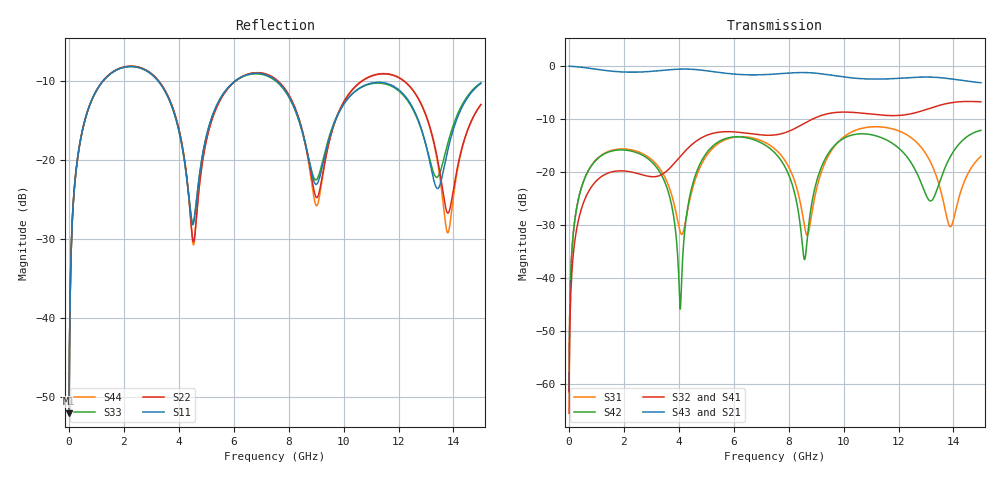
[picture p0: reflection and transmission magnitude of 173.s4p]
! Created with skrf 1.8.0 (http://scikit-rf.org).
# GHz S RI R 50.0
!freq ReS11 ImS11 ReS12 ImS12 ReS13 ImS13
! ReS14 ImS14
! ReS21 ImS21 ReS22 ImS22 ReS23 ImS23
! ReS24 ImS24
! ReS31 ImS31 ReS32 ImS32 ReS33 ImS33
! ReS34 ImS34
! ReS41 ImS41 ReS42 ImS42 ReS43 ImS43
! ReS44 ImS44
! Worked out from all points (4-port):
!   2499 points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, 5 MHz to 15 GHz, reference 50 ohm
!   strongest paths, dB at 5 MHz, 3.476 GHz, 7.19 GHz, 11.1 GHz, 15 GHz:
!     S43: 0.0, -0.8, -1.6, -2.5, -3.1
!     S21: 0.0, -0.8, -1.6, -2.5, -3.1
!     S32: -65.6, -20.2, -13.1, -9.1, -6.8
!     S41: -65.6, -20.2, -13.1, -9.2, -6.8
!     S42: -61.6, -21.8, -15.1, -13.1, -12.1
!     S31: -61.6, -20.8, -14.6, -11.5, -17.1
!   lowest |S11| = -52.1 dB at 5 MHz (marker M1), VSWR 1.00, Z = 50.2 + j0.15 ohm
!   |S11| at or under -10 dB: start of sweep to 1.248 GHz; 3.243 GHz to 6.061 GHz (2.818 GHz wide, 60.6 % of centre); 7.545 GHz to end of sweep
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0.005  0.00198 0.0015  0.998 -0.00385  0.000102 0.000829  -9.89e-05 -0.000513
       0.998 -0.00385  0.00198 0.0015  -9.89e-05 -0.000513  0.000102 0.000829
       0.000102 0.000829  -9.89e-05 -0.000513  0.00198 0.0015  0.998 -0.00385
       -9.89e-05 -0.000513  0.000102 0.000829  0.998 -0.00385  0.00198 0.0015
1.369321  0.2878 0.1677  0.505 -0.7522  0.1436 0.0542  -0.096 0.00142
          0.505 -0.7522  0.2898 0.1662  -0.0962 0.00159  0.138 0.0627
          0.1436 0.0542  -0.0962 0.00159  0.2877 0.1677  0.505 -0.7522
          -0.096 0.00142  0.138 0.0627  0.505 -0.7522  0.2898 0.1661
4.051688  0.0756 -0.1173  -0.8548 -0.3814  -0.0233 -0.0139  -0.0538 0.1292
          -0.8548 -0.3814  0.0691 -0.1255  -0.0517 0.1301  0.00491 0.00118
          -0.0233 -0.0139  -0.0517 0.1301  0.0766 -0.1165  -0.8548 -0.3815
          -0.0538 0.1292  0.00491 0.00118  -0.8548 -0.3815  0.0679 -0.1257
5.277199  0.1447 0.1397  -0.7896 0.3972  0.1191 0.1233  0.1377 0.1872
          -0.7896 0.3972  0.1354 0.1396  0.1406 0.1854  0.1321 0.1213
          0.1191 0.1233  0.1406 0.1854  0.1452 0.1385  -0.7899 0.3969
          0.1377 0.1872  0.1321 0.1213  -0.7899 0.3969  0.1345 0.1405
9.103793  0.0729 0.017  0.8427 0.115  0.0119 0.0835  0.0383 -0.3332
          0.8427 0.115  0.0598 0.014  0.0276 -0.3338  0.0109 0.0956
          0.0119 0.0835  0.0276 -0.3338  0.078 0.0191  0.8426 0.1156
          0.0383 -0.3332  0.0109 0.0956  0.8426 0.1156  0.0537 0.0171
12.01751  0.2609 -0.0916  -0.1195 -0.7564  0.1302 -0.2059  -0.3195 0.1135
          -0.1195 -0.7564  0.3057 -0.1245  -0.3166 0.1286  0.1479 -0.0772
          0.1302 -0.2059  -0.3166 0.1286  0.258 -0.0856  -0.1169 -0.7574
          -0.3195 0.1135  0.1479 -0.0772  -0.1169 -0.7574  0.3065 -0.1251
15  0.2718 0.1368  -0.5547 0.4216  0.1397 -0.011  0.3114 0.3381
    -0.5547 0.4216  0.1886 0.1195  0.3281 0.3214  0.2454 -0.0273
    0.1397 -0.011  0.3281 0.3214  0.2793 0.1278  -0.558 0.4167
    0.3114 0.3381  0.2454 -0.0273  -0.558 0.4167  0.181 0.1312
